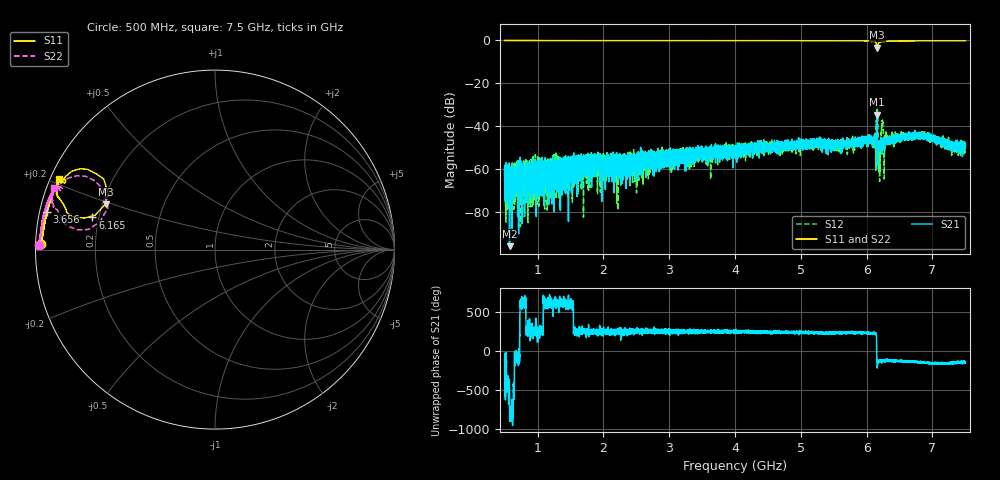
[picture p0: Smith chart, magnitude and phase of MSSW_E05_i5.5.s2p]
!Keysight Technologies,M9374A,MY55442783,A.12.55.05
!Date: Thursday, May 20, 2021 12:21:44
!Correction: S11(Full 2 Port(1,2))
!S21(Full 2 Port(1,2))
!S12(Full 2 Port(1,2))
!S22(Full 2 Port(1,2))
!S2P File: Measurements: S11, S21, S12, S22:
# Hz S  RI  R 50
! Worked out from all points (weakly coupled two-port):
!   7001 points, 500 MHz to 7.5 GHz, reference 50 ohm
!   highest |S21| = -34.71 dB at 6.158 GHz (marker M1); lowest = -95.9 dB at 575 MHz (marker M2)
!   lowest |S11| = -3.6 dB at 6.159 GHz (marker M3), VSWR 4.88, Z = 10.6 + j9.52 ohm
!   |S11| at or under -10 dB: nowhere
!   |S22| runs from -3.9 to -0.2 dB; largest |S21 - S12| = 0.021
!   S11 on the Smith chart (normalised r, x): 500 MHz: 0.01, +0.02; 3.656 GHz: 0.02, +0.11; 6.165 GHz: 0.18, +0.12; 7.5 GHz: 0.03, +0.22
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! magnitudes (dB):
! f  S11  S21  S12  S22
! 500 MHz  -0.3  -59.9  -65.7  -0.2
! 541 MHz  -0.3  -63.6  -70.4  -0.2
! 575 MHz  -0.3  -95.9  -68.1  -0.2
! 1.667 GHz  -0.3  -57.2  -56.3  -0.2
! 2.258 GHz  -0.3  -57.6  -56.0  -0.2
! 2.834 GHz  -0.3  -55.0  -55.3  -0.2
! 3.656 GHz  -0.3  -52.2  -57.6  -0.2
! 4 GHz  -0.3  -51.5  -53.6  -0.3
! 5.167 GHz  -0.4  -47.4  -48.7  -0.3
! 5.601 GHz  -0.4  -49.8  -49.1  -0.3
! 6.105 GHz  -0.6  -46.4  -46.9  -0.6
! 6.138 GHz  -1.0  -46.3  -60.6  -0.9
! 6.158 GHz  -3.6  -34.7  -37.0  -3.5
! 6.159 GHz  -3.6  -34.9  -34.7  -3.7
! 6.165 GHz  -3.0  -53.7  -34.5  -3.5
! 6.206 GHz  -1.0  -51.7  -50.3  -0.9
! 6.254 GHz  -0.7  -49.3  -43.6  -0.6
! 6.291 GHz  -0.7  -46.3  -43.8  -0.6
! 6.334 GHz  -0.6  -47.5  -46.4  -0.5
! 6.813 GHz  -0.4  -45.0  -43.8  -0.4
! 7.311 GHz  -0.4  -48.9  -49.1  -0.3
! 7.5 GHz  -0.4  -49.4  -48.1  -0.4
